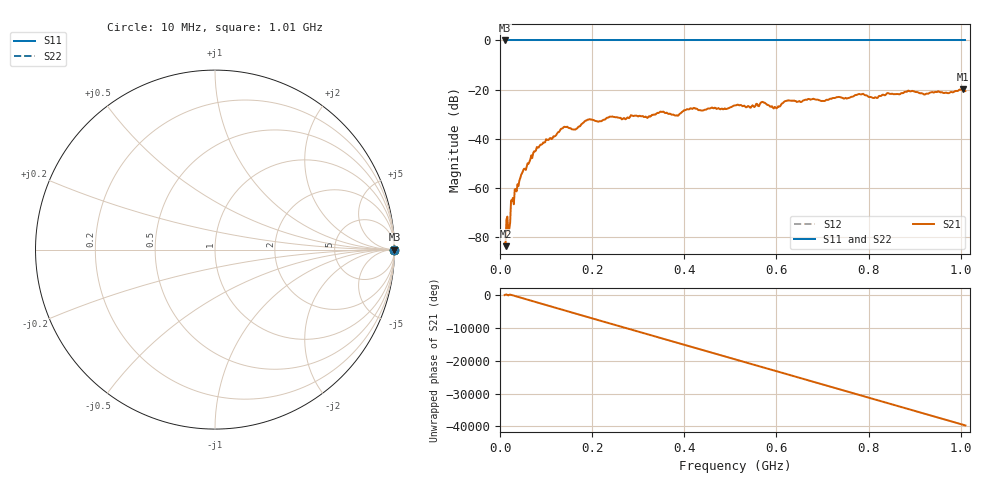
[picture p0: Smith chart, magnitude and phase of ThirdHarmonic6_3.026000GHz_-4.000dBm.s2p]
! 8/17/2025 8:43:15 AM
! C:\ANRITSUVNA\TEMP\TEMP.S2P
! CHANNEL.1
! TR.MEASUREMENT
! RAW.DATA
! RF.CORRECTION.OFF
! AVERAGING.OFF
! IF.BANDWIDTH: 5KHZ
! SWEEPTYPE:  FREQ.SWEEP(Linear)
! Reference Plane Port Info
! PORT:  PORT1  PORT2
! DISTANCE:  0  m  0  m
! TIME:  0  s  0  s
! PHASE.OFFSET:  0  deg.  0  deg.
! LOSS:  0  dB  0  dB
! REF.LOSS:  0  dB  0  dB
! REF.FREQ:  0  Hz  0  Hz
! Power Info
! POWER:  -20  dBm  -20  dBm
! EFF.POWER:  -20  dBm  -20  dBm
! SOURCE.ATTEN:  0  dB  0  dB
! TEST.ATTEN:  0  dB  0  dB
# GHZ S RI R 50.0
! FREQ.GHZ  S11RE  S11IM  S21RE  S21IM  S12RE  S12IM  S22RE  S22IM
!; PortSelection: Port_12
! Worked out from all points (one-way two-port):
!   501 points, 10 MHz to 1.01 GHz, reference 50 ohm
!   highest |S21| = -19.92 dB at 1.004 GHz (marker M1); lowest = -83.6 dB at 12 MHz (marker M2)
!   lowest |S11| = 0.0 dB at 10 MHz (marker M3)
!   |S11| at or under -10 dB: nowhere
!   |S22| runs from 0.0 to 0.0 dB; largest |S21 - S12| = 1.1
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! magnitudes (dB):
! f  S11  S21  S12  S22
! 10 MHz  0.0  -82.5  0.0  0.0
! 12 MHz  0.0  -83.6  0.0  0.0
! 22 MHz  0.0  -74.1  0.0  0.0
! 28 MHz  0.0  -64.0  0.0  0.0
! 46 MHz  0.0  -54.5  0.0  0.0
! 76 MHz  0.0  -45.1  0.0  0.0
! 136 MHz  0.0  -35.7  0.0  0.0
! 162 MHz  0.0  -36.2  0.0  0.0
! 178 MHz  0.0  -33.9  0.0  0.0
! 194 MHz  0.0  -32.0  0.0  0.0
! 322 MHz  0.0  -31.1  0.0  0.0
! 344 MHz  0.0  -29.5  0.0  0.0
! 384 MHz  0.0  -30.4  0.0  0.0
! 416 MHz  0.0  -27.7  0.0  0.0
! 510 MHz  0.0  -26.4  0.0  0.0
! 570 MHz  0.0  -24.9  0.0  0.0
! 598 MHz  0.0  -27.2  0.0  0.0
! 622 MHz  0.0  -24.5  0.0  0.0
! 678 MHz  0.0  -23.8  0.0  0.0
! 844 MHz  0.0  -21.6  0.0  0.0
! 1.004 GHz  0.0  -19.9  0.0  0.0
! 1.01 GHz  0.0  -20.6  0.0  0.0
